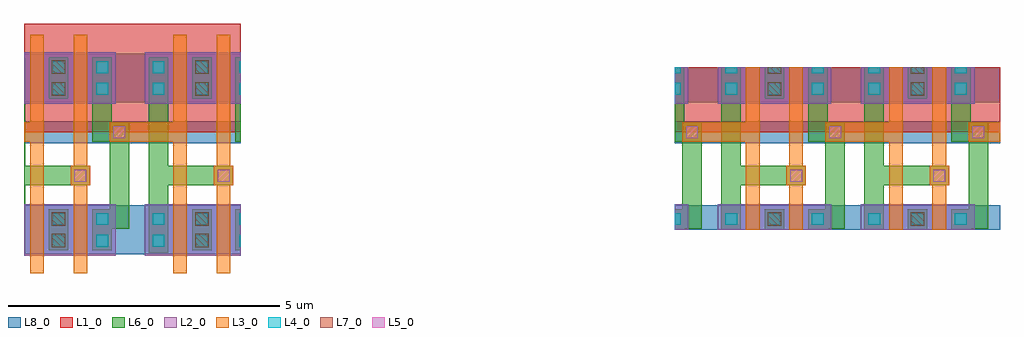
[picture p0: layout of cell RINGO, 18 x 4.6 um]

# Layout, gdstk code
import gdstk
lib = gdstk.Library(unit=1e-6, precision=1e-09)
def R(c, l, rs):  # rectangles x0, y0, x1, y1
    for r in rs: c.add(gdstk.rectangle(r[:2], r[2:], *l))
def P(c, l, *ps):  # polygons
    for p in ps: c.add(gdstk.Polygon(p, *l))
L1_0 = (1, 0)
L2_0 = (2, 0)
L3_0 = (3, 0)
L4_0 = (4, 0)
L5_0 = (5, 0)
L6_0 = (6, 0)
L7_0 = (7, 0)
L8_0 = (8, 0)

trans_clip_var = lib.new_cell('TRANS$CLIP_VAR')
R(trans_clip_var, L2_0, [(-0.24,-0.475,0.65,0.475)])
R(trans_clip_var, L4_0, [(0.29,-0.31,0.51,-0.09), (0.29,0.09,0.51,0.31)])
R(trans_clip_var, L6_0, [(-0.24,-0.38,-0.22,0.38), (0.22,-0.38,0.58,0.38)])

trans = lib.new_cell('TRANS')
R(trans, L2_0, [(-0.65,-0.475,0.65,0.475)])
R(trans, L4_0, [(-0.51,-0.31,-0.29,-0.09), (0.29,-0.31,0.51,-0.09), (-0.51,0.09,-0.29,0.31), (0.29,0.09,0.51,0.31)])
R(trans, L6_0, [(-0.58,-0.38,-0.22,0.38), (0.22,-0.38,0.58,0.38)])

trans_1 = lib.new_cell('TRANS$1')
R(trans_1, L3_0, [(-0.125,-0.8,0.125,0.8)])

inv2_clip_var = lib.new_cell('INV2$CLIP_VAR')
R(inv2_clip_var, L1_0, [(-0.64,1.8,1.4,3.8)])
R(inv2_clip_var, L3_0, [(-0.525,-0.25,-0.275,2.25), (0.275,-0.25,0.525,2.25), (0.22,0.82,0.58,1.18), (-0.64,1.62,-0.4,1.98)])
R(inv2_clip_var, L5_0, [(0.29,0.89,0.51,1.11)])
R(inv2_clip_var, L6_0, [(-0.64,-0.42,-0.62,2.42), (-0.64,0.82,0.58,1.18)])
P(inv2_clip_var, L6_0, [(0.8,0.02),(0.8,0.38),(0.94,0.38),(0.94,1.62),(0.62,1.62),(0.62,2.42),(0.98,2.42),(0.98,1.98),(1.3,1.98),(1.3,0.02)])
R(inv2_clip_var, L8_0, [(-0.64,-0.45,1.4,0.45), (-0.64,2.35,1.4,3.25)])
inv2_clip_var.add(gdstk.Reference(trans_clip_var, (-0.4,0)))
inv2_clip_var.add(gdstk.Reference(trans_clip_var, (-0.4,2.8)))
inv2_clip_var.add(gdstk.Reference(trans, (0.4,0), x_reflection=True))
inv2_clip_var.add(gdstk.Reference(trans, (0.4,2.8), x_reflection=True))
inv2_clip_var.add(gdstk.Reference(trans_1, (-0.4,0)))
inv2_clip_var.add(gdstk.Reference(trans_1, (-0.4,2.8)))
inv2_clip_var.add(gdstk.Reference(trans_1, (0.4,0), x_reflection=True))
inv2_clip_var.add(gdstk.Reference(trans_1, (0.4,2.8), x_reflection=True))

trans_clip_var_1 = lib.new_cell('TRANS$CLIP_VAR$1')
R(trans_clip_var_1, L2_0, [(-0.65,-0.475,0.32,0.475)])
R(trans_clip_var_1, L4_0, [(-0.51,-0.31,-0.29,-0.09), (0.29,-0.31,0.32,-0.09), (-0.51,0.09,-0.29,0.31), (0.29,0.09,0.32,0.31)])
R(trans_clip_var_1, L6_0, [(-0.58,-0.38,-0.22,0.38), (0.22,-0.38,0.32,0.38)])

inv2_clip_var_1 = lib.new_cell('INV2$CLIP_VAR$1')
R(inv2_clip_var_1, L1_0, [(-1.4,1.8,0.72,3.8)])
R(inv2_clip_var_1, L3_0, [(-0.525,-0.25,-0.275,2.25), (0.275,-0.25,0.525,2.25), (0.22,0.82,0.58,1.18), (-1.7,1.62,-0.4,1.98)])
R(inv2_clip_var_1, L5_0, [(0.29,0.89,0.51,1.11), (-1.63,1.69,-1.41,1.91)])
R(inv2_clip_var_1, L6_0, [(-0.98,-0.42,-0.62,2.42), (-0.8,0.82,0.58,1.18), (0.62,1.62,0.72,2.42)])
R(inv2_clip_var_1, L8_0, [(-1.4,-0.45,0.72,0.45), (-1.4,2.35,0.72,3.25)])
inv2_clip_var_1.add(gdstk.Reference(trans, (-0.4,0)))
inv2_clip_var_1.add(gdstk.Reference(trans, (-0.4,2.8)))
inv2_clip_var_1.add(gdstk.Reference(trans_clip_var_1, (0.4,0), x_reflection=True))
inv2_clip_var_1.add(gdstk.Reference(trans_clip_var_1, (0.4,2.8), x_reflection=True))
inv2_clip_var_1.add(gdstk.Reference(trans_1, (-0.4,0)))
inv2_clip_var_1.add(gdstk.Reference(trans_1, (-0.4,2.8)))
inv2_clip_var_1.add(gdstk.Reference(trans_1, (0.4,0), x_reflection=True))
inv2_clip_var_1.add(gdstk.Reference(trans_1, (0.4,2.8), x_reflection=True))

trans_clip_var_2 = lib.new_cell('TRANS$CLIP_VAR$2')
R(trans_clip_var_2, L2_0, [(0.4,-0.475,0.65,0)])
R(trans_clip_var_2, L4_0, [(0.4,-0.31,0.51,-0.09)])
R(trans_clip_var_2, L6_0, [(0.4,-0.38,0.58,0)])

trans_clip_var_1_1 = lib.new_cell('TRANS$CLIP_VAR$1$1')
R(trans_clip_var_1_1, L2_0, [(0.4,-0.2,0.65,0.475)])
R(trans_clip_var_1_1, L4_0, [(0.4,-0.2,0.51,-0.09), (0.4,0.09,0.51,0.31)])
R(trans_clip_var_1_1, L6_0, [(0.4,-0.2,0.58,0.38)])

inv2_clip_var_2 = lib.new_cell('INV2$CLIP_VAR$2')
R(inv2_clip_var_2, L1_0, [(0.8,1.8,1.4,3)])
P(inv2_clip_var_2, L6_0, [(0.8,0.02),(0.8,0.38),(0.94,0.38),(0.94,1.62),(0.8,1.62),(0.8,2.42),(0.98,2.42),(0.98,1.98),(1.3,1.98),(1.3,0.02)])
R(inv2_clip_var_2, L8_0, [(0.8,0,1.4,0.45), (0.8,2.35,1.4,3)])
inv2_clip_var_2.add(gdstk.Reference(trans_clip_var_2, (0.4,0), x_reflection=True))
inv2_clip_var_2.add(gdstk.Reference(trans_clip_var_1_1, (0.4,2.8), x_reflection=True))

trans_clip_var_2_1 = lib.new_cell('TRANS$CLIP_VAR$2$1')
R(trans_clip_var_2_1, L2_0, [(-0.65,0,0.65,0.475)])
R(trans_clip_var_2_1, L3_0, [(-0.125,0,0.125,0.8)])
R(trans_clip_var_2_1, L4_0, [(-0.51,0.09,-0.29,0.31), (0.29,0.09,0.51,0.31)])
R(trans_clip_var_2_1, L6_0, [(-0.58,0,-0.22,0.38), (0.22,0,0.58,0.38)])

trans_clip_var_3 = lib.new_cell('TRANS$CLIP_VAR$3')
R(trans_clip_var_3, L2_0, [(-0.65,-0.475,0.65,0.2)])
R(trans_clip_var_3, L3_0, [(-0.125,-0.8,0.125,0.2)])
R(trans_clip_var_3, L4_0, [(-0.51,-0.31,-0.29,-0.09), (0.29,-0.31,0.51,-0.09), (-0.51,0.09,-0.29,0.2), (0.29,0.09,0.51,0.2)])
R(trans_clip_var_3, L6_0, [(-0.58,-0.38,-0.22,0.2), (0.22,-0.38,0.58,0.2)])

trans_clip_var_4 = lib.new_cell('TRANS$CLIP_VAR$4')
R(trans_clip_var_4, L2_0, [(-0.65,-0.475,0.65,0)])
R(trans_clip_var_4, L3_0, [(-0.125,-0.8,0.125,0)])
R(trans_clip_var_4, L4_0, [(-0.51,-0.31,-0.29,-0.09), (0.29,-0.31,0.51,-0.09)])
R(trans_clip_var_4, L6_0, [(-0.58,-0.38,-0.22,0), (0.22,-0.38,0.58,0)])

trans_clip_var_5 = lib.new_cell('TRANS$CLIP_VAR$5')
R(trans_clip_var_5, L2_0, [(-0.65,-0.2,0.65,0.475)])
R(trans_clip_var_5, L3_0, [(-0.125,-0.2,0.125,0.8)])
R(trans_clip_var_5, L4_0, [(-0.51,-0.2,-0.29,-0.09), (0.29,-0.2,0.51,-0.09), (-0.51,0.09,-0.29,0.31), (0.29,0.09,0.51,0.31)])
R(trans_clip_var_5, L6_0, [(-0.58,-0.2,-0.22,0.38), (0.22,-0.2,0.58,0.38)])

inv2_clip_var_1_1 = lib.new_cell('INV2$CLIP_VAR$1$1')
R(inv2_clip_var_1_1, L1_0, [(-1.4,1.8,1.4,3)])
R(inv2_clip_var_1_1, L3_0, [(-0.525,0,-0.275,2.25), (0.275,0,0.525,2.25), (0.22,0.82,0.58,1.18), (-1.7,1.62,-0.4,1.98)])
R(inv2_clip_var_1_1, L5_0, [(0.29,0.89,0.51,1.11), (-1.63,1.69,-1.41,1.91)])
R(inv2_clip_var_1_1, L6_0, [(-0.98,0,-0.62,2.42), (-0.8,0.82,0.58,1.18)])
P(inv2_clip_var_1_1, L6_0, [(0.8,0.02),(0.8,0.38),(0.94,0.38),(0.94,1.62),(0.62,1.62),(0.62,2.42),(0.98,2.42),(0.98,1.98),(1.3,1.98),(1.3,0.02)])
R(inv2_clip_var_1_1, L7_0, [(-0.125,0.075,0.125,0.325), (-0.125,2.475,0.125,2.725), (-0.125,2.875,0.125,3)])
R(inv2_clip_var_1_1, L8_0, [(-1.4,0,1.4,0.45), (-1.4,2.35,1.4,3)])
inv2_clip_var_1_1.add(gdstk.Reference(trans_clip_var_2_1, (-0.4,0)))
inv2_clip_var_1_1.add(gdstk.Reference(trans_clip_var_3, (-0.4,2.8)))
inv2_clip_var_1_1.add(gdstk.Reference(trans_clip_var_4, (0.4,0), x_reflection=True))
inv2_clip_var_1_1.add(gdstk.Reference(trans_clip_var_5, (0.4,2.8), x_reflection=True))

inv2_clip_var_1_2 = lib.new_cell('INV2$CLIP_VAR$1$2')
R(inv2_clip_var_1_2, L1_0, [(-1.4,1.8,-1.12,3)])
R(inv2_clip_var_1_2, L3_0, [(-1.7,1.62,-1.12,1.98)])
R(inv2_clip_var_1_2, L5_0, [(-1.63,1.69,-1.41,1.91)])
R(inv2_clip_var_1_2, L8_0, [(-1.4,0,-1.12,0.45), (-1.4,2.35,-1.12,3)])

inv2 = lib.new_cell('INV2')
R(inv2, L7_0, [(-0.125,-0.325,0.125,-0.075), (-0.125,0.075,0.125,0.325), (-0.125,2.475,0.125,2.725), (-0.125,2.875,0.125,3.125)])

ringo = lib.new_cell('RINGO')
R(ringo, L8_0, [(2,1.6,6,2), (14,1.6,20,2)])
ringo.add(gdstk.Reference(inv2_clip_var, (2.64,0)))
ringo.add(gdstk.Reference(inv2_clip_var_1, (5.28,0)))
ringo.add(gdstk.Reference(inv2_clip_var_2, (13.2,0)))
ringo.add(gdstk.Reference(inv2_clip_var_1_1, (15.84,0)))
ringo.add(gdstk.Reference(inv2_clip_var_1_1, (18.48,0)))
ringo.add(gdstk.Reference(inv2_clip_var_1_2, (21.12,0)))
ringo.add(gdstk.Reference(inv2, (2.64,0)))
ringo.add(gdstk.Reference(inv2, (5.28,0)))

lib.write_gds('RINGO.gds')
